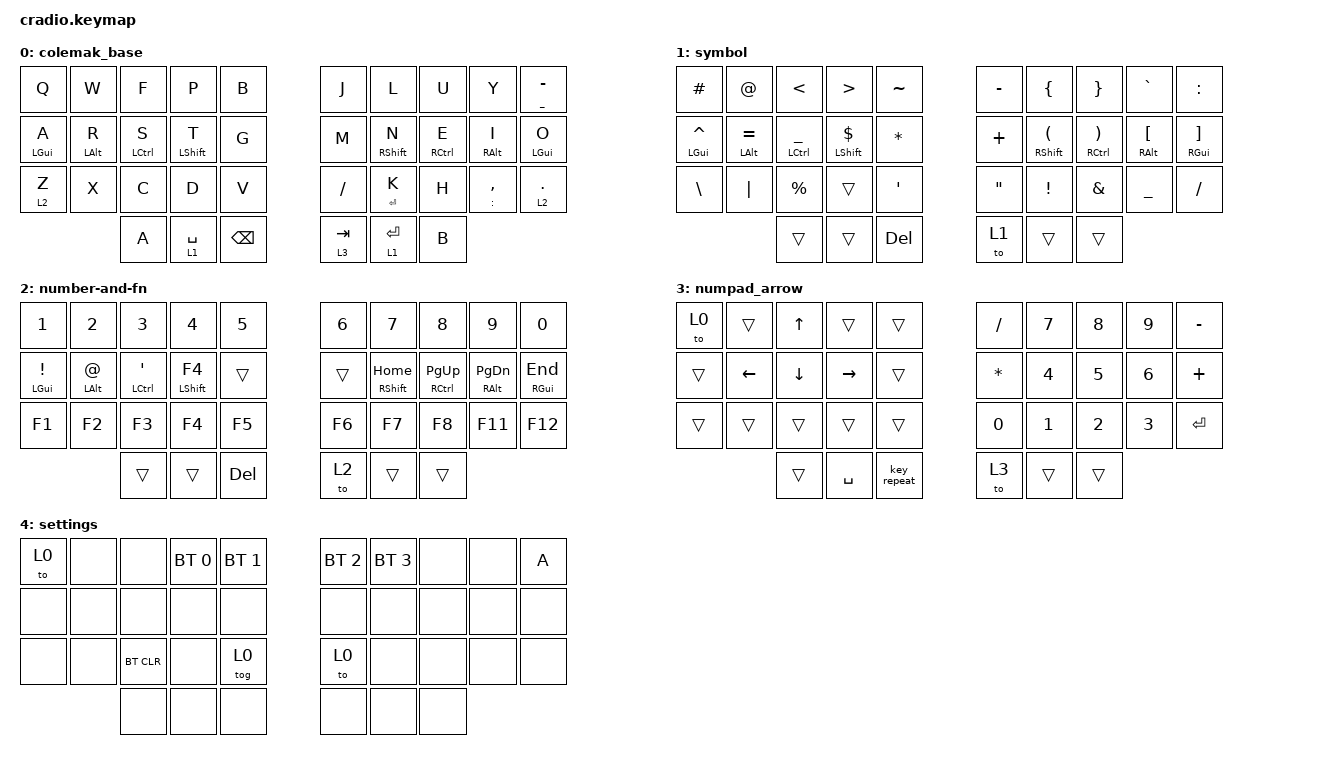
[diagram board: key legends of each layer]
/*
 * Copyright (c) 2020 The ZMK Contributors
 *
 * SPDX-License-Identifier: MIT
 */

#include <behaviors.dtsi>
#include <dt-bindings/zmk/bt.h>
#include <dt-bindings/zmk/keys.h>

#define QWERTY 0
#define SYM    1
#define SYM_2  2
#define FNC    3
#define FNC_2  4

&mt {
    //  flavor = "tap-preferred";
    // tapping_term_ms = <200>;

    tapping-term-ms = <250>;
    flavor = "tap-preferred";
};

/ {
    combos {
        compatible = "zmk,combos";

        esc {
            bindings = <&kp ESCAPE>;
            key-positions = <0 1>;
            layers = <0 1 2 3>;
        };

        cut {
            bindings = <&kp LC(X)>;
            key-positions = <21 22>;
            layers = <0 1 2 3>;
        };

        copy {
            bindings = <&kp LC(C)>;
            key-positions = <22 23>;
            layers = <0 1 2 3>;
        };

        paste {
            bindings = <&kp LC(V)>;
            key-positions = <23 24>;
            layers = <0 1 2 3>;
        };

        to_default {
            bindings = <&to 0>;
            key-positions = <0 9>;
            layers = <1 2 3 4>;
        };

        alt_quotes {
            bindings = <&kp DOUBLE_QUOTES>;
            key-positions = <5 6>;
            layers = <0>;
        };

        numpad {
            bindings = <&to 3>;
            key-positions = <1 10 12>;
            layers = <0>;
        };

        backspace {
            bindings = <&kp BACKSPACE>;
            key-positions = <3 2>;
            layers = <0 2 3 1>;
        };

        delete {
            bindings = <&kp DELETE>;
            key-positions = <6 7>;
            layers = <0 1 2 3>;
        };

        settings {
            bindings = <&to 4>;
            key-positions = <0 1 2>;
            layers = <0>;
        };

        and {
            bindings = <&and>;
            key-positions = <10 31>;
            layers = <0>;
        };

        the {
            bindings = <&the>;
            key-positions = <13 31>;
            layers = <0>;
        };

        improve_prompt {
            bindings = <&llm_prompt>;
            key-positions = <31 18>;
            layers = <0>;
        };

        alt_ret {
            bindings = <&kp RET>;
            key-positions = <15 16>;
            layers = <0 1 2 3>;
        };

        capsword {
            bindings = <&caps_word>;
            key-positions = <29 28>;
            layers = <0>;
        };
    };

    macros {
        the: the {
            compatible = "zmk,behavior-macro";
            #binding-cells = <0>;
            bindings = <&kp T &kp H &kp E>;
            label = "THE";
        };

        and: and {
            compatible = "zmk,behavior-macro";
            #binding-cells = <0>;
            bindings = <&kp A &kp N &kp D>;
            label = "AND";
        };

        llm_prompt: llm_prompt {
            compatible = "zmk,behavior-macro";
            #binding-cells = <0>;
            bindings = <&kp LS(RET) &kp MINUS &kp MINUS &kp MINUS &kp SPACE &kp I &kp M &kp P &kp R &kp O &kp V &kp E &kp SPACE &kp T &kp H &kp E &kp SPACE &kp W &kp R &kp I &kp T &kp I &kp N &kp G &kp RETURN>;
            label = "LLM_PROMPT";
        };
    };

    behaviors {
        backspace_mod: backspace_mod {
            compatible = "zmk,behavior-tap-dance";
            label = "BACKSPACE_MOD";
            #binding-cells = <0>;
            bindings = <&lt 2 BACKSPACE>, <&kp BACKSPACE>;
        };

        german_ae: german_ae {
            compatible = "zmk,behavior-mod-morph";
            label = "GERMAN_AE";
            bindings = <&kp A>, <&kp RA(A)>;

            #binding-cells = <0>;
            mods = <(MOD_LALT)>;
        };

        german_ue: german_ue {
            compatible = "zmk,behavior-mod-morph";
            label = "GERMAN_UE";
            bindings = <&kp U>, <&kp RA(U)>;

            #binding-cells = <0>;
            mods = <(MOD_LALT)>;
        };

        german_oe: german_oe {
            compatible = "zmk,behavior-mod-morph";
            label = "GERMAN_OE";
            bindings = <&kp O>, <&kp RA(O)>;

            #binding-cells = <0>;
            mods = <(MOD_LALT)>;
        };

        german_ss: german_ss {
            compatible = "zmk,behavior-mod-morph";
            label = "GERMAN_SS";
            bindings = <&kp S>, <&kp RA(S)>;

            #binding-cells = <0>;
            mods = <(MOD_LALT)>;
        };
    };

    keymap {
        compatible = "zmk,keymap";

        colemak_base {
            bindings = <
&kp Q           &kp W           &kp F        &kp P             &kp B            &kp J      &kp L              &kp U        &kp Y            &mt UNDER MINUS
&mt LEFT_GUI A  &mt LEFT_ALT R  &mt LCTRL S  &mt LEFT_SHIFT T  &kp G            &kp M      &mt RIGHT_SHIFT N  &mt RCTRL E  &mt RIGHT_ALT I  &mt LEFT_GUI O
&lt 2 Z         &kp X           &kp C        &kp D             &kp V            &kp SLASH  &mt RET K          &kp H        &mt COLON COMMA  &lt 2 DOT
                                &kp A             &lt 1 SPACE       &kp BACKSPACE    &lt 3 TAB  &lt 1 RET &kp B
            >;
        };

        symbol {
            bindings = <
&kp HASH            &kp AT              &kp LESS_THAN         &kp GREATER_THAN       &kp TILDE           &kp MINUS  &kp LEFT_BRACE                    &kp RIGHT_BRACE              &kp GRAVE                   &kp COLON
&mt LEFT_GUI CARET  &mt LEFT_ALT EQUAL  &mt LCTRL UNDERSCORE  &mt LEFT_SHIFT DOLLAR  &kp ASTERISK        &kp PLUS   &mt RIGHT_SHIFT LEFT_PARENTHESIS  &mt RCTRL RIGHT_PARENTHESIS  &mt RIGHT_ALT LEFT_BRACKET  &mt RIGHT_GUI RIGHT_BRACKET
&kp BACKSLASH       &kp PIPE            &kp PRCNT             &trans                 &kp SINGLE_QUOTE    &kp DQT    &kp EXCL                          &kp AMPS                     &kp UNDER                   &kp SLASH
                                        &trans                &trans                 &kp DELETE          &to 1      &trans &trans
            >;
        };

        number-and-fn {
            bindings = <
&kp N1             &kp N2       &kp N3         &kp N4             &kp N5        &kp N6  &kp N7                &kp N8             &kp N9                   &kp N0
&mt LEFT_GUI EXCL  &mt LALT AT  &mt LCTRL SQT  &mt LEFT_SHIFT F4  &trans        &trans  &mt RIGHT_SHIFT HOME  &mt RCTRL PAGE_UP  &mt RIGHT_ALT PAGE_DOWN  &mt RIGHT_GUI END
&kp F1             &kp F2       &kp F3         &kp F4             &kp F5        &kp F6  &kp F7                &kp F8             &kp F11                  &kp F12
                                &trans         &trans             &kp DELETE    &to 2   &trans &trans

            >;
        };

        numpad_arrow {
            bindings = <
&to 0   &trans    &kp UP_ARROW  &trans     &trans         &kp FSLH      &kp N7  &kp N8  &kp N9  &kp MINUS
&trans  &kp LEFT  &kp DOWN      &kp RIGHT  &trans         &kp ASTERISK  &kp N4  &kp N5  &kp N6  &kp PLUS
&trans  &trans    &trans        &trans     &trans         &kp N0        &kp N1  &kp N2  &kp N3  &kp ENTER
                   &trans       &kp SPACE  &key_repeat    &to 3         &trans &trans
            >;
        };

        settings {
            bindings = <
&to 0  &none  &none       &bt BT_SEL 0  &bt BT_SEL 1    &bt BT_SEL 2  &bt BT_SEL 3  &none  &none  &kp A
&none  &none  &none       &none         &none           &none         &none         &none  &none  &none
&none  &none  &bt BT_CLR  &none         &tog 0          &to 0         &none         &none  &none  &none
             &none             &none         &none           &none         &none &none   
            >;
        };
    };
};
